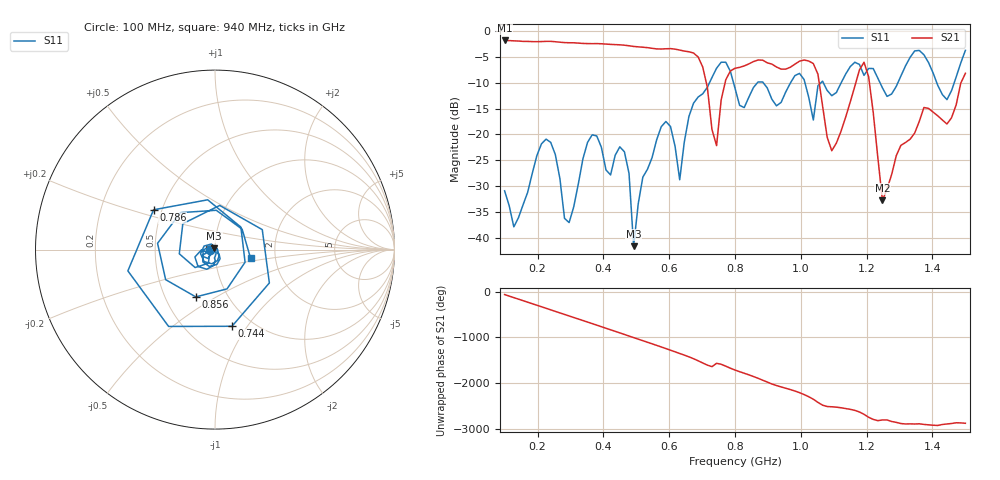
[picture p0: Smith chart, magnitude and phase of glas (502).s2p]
! NanoVNA-App
! Date: 2025-09-25 15:59:23
! Start: 100MHz Stop: 1,5GHz Points: 101
! S-Parameter data: F S11 S21 S12 S22
# Hz S RI R 50
!  Frequency  S11_Real  S11_Imag  S21_Real  S21_Imag  S12_Real  S12_Imag  S22_Real  S22_Imag
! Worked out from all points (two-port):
!   101 points, 100 MHz to 1.5 GHz, reference 50 ohm
!   highest |S21| = -1.80 dB at 100 MHz (marker M1); lowest = -32.8 dB at 1.248 GHz (marker M2)
!   |S21| within 3 dB of the highest: start of sweep to 684.3 MHz
!   lowest |S11| = -41.7 dB at 492 MHz (marker M3), VSWR 1.02, Z = 49.5 + j0.632 ohm
!   |S11| at or under -10 dB: start of sweep to 722.5 MHz; 795.5 MHz to 868 MHz (72.46 MHz wide, 8.71 % of centre); 885.9 MHz to 968.7 MHz (82.86 MHz wide, 8.94 % of centre) (the widest 3 of 7)
!   S12 and S22 are empty: the file has one direction only
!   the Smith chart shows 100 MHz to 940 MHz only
!   S11 on the Smith chart (normalised r, x): 100 MHz: 0.95, -0.01; 744 MHz: 0.81, -0.85; 786 MHz: 0.45, +0.24; 856 MHz: 0.71, -0.41; 940 MHz: 1.49, -0.15
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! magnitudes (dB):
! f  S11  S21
! 100 MHz  -30.9  -1.8
! 128 MHz  -37.9  -1.9
! 226 MHz  -20.9  -2.0
! 296 MHz  -37.1  -2.2
! 338 MHz  -24.7  -2.4
! 464 MHz  -23.4  -2.7
! 492 MHz  -41.7  -3.0
! 576 MHz  -18.5  -3.5
! 632 MHz  -28.8  -3.7
! 702 MHz  -12.1  -7.0
! 744 MHz  -7.2  -22.2
! 786 MHz  -7.8  -7.7
! 800 MHz  -11.0  -7.2
! 856 MHz  -10.9  -5.9
! 940 MHz  -13.8  -7.4
! 996 MHz  -8.2  -5.8
! 1.038 GHz  -17.2  -6.3
! 1.094 GHz  -12.5  -23.2
! 1.192 GHz  -8.6  -6.0
! 1.248 GHz  -11.0  -32.8
! 1.276 GHz  -12.2  -27.8
! 1.5 GHz  -3.7  -8.2
